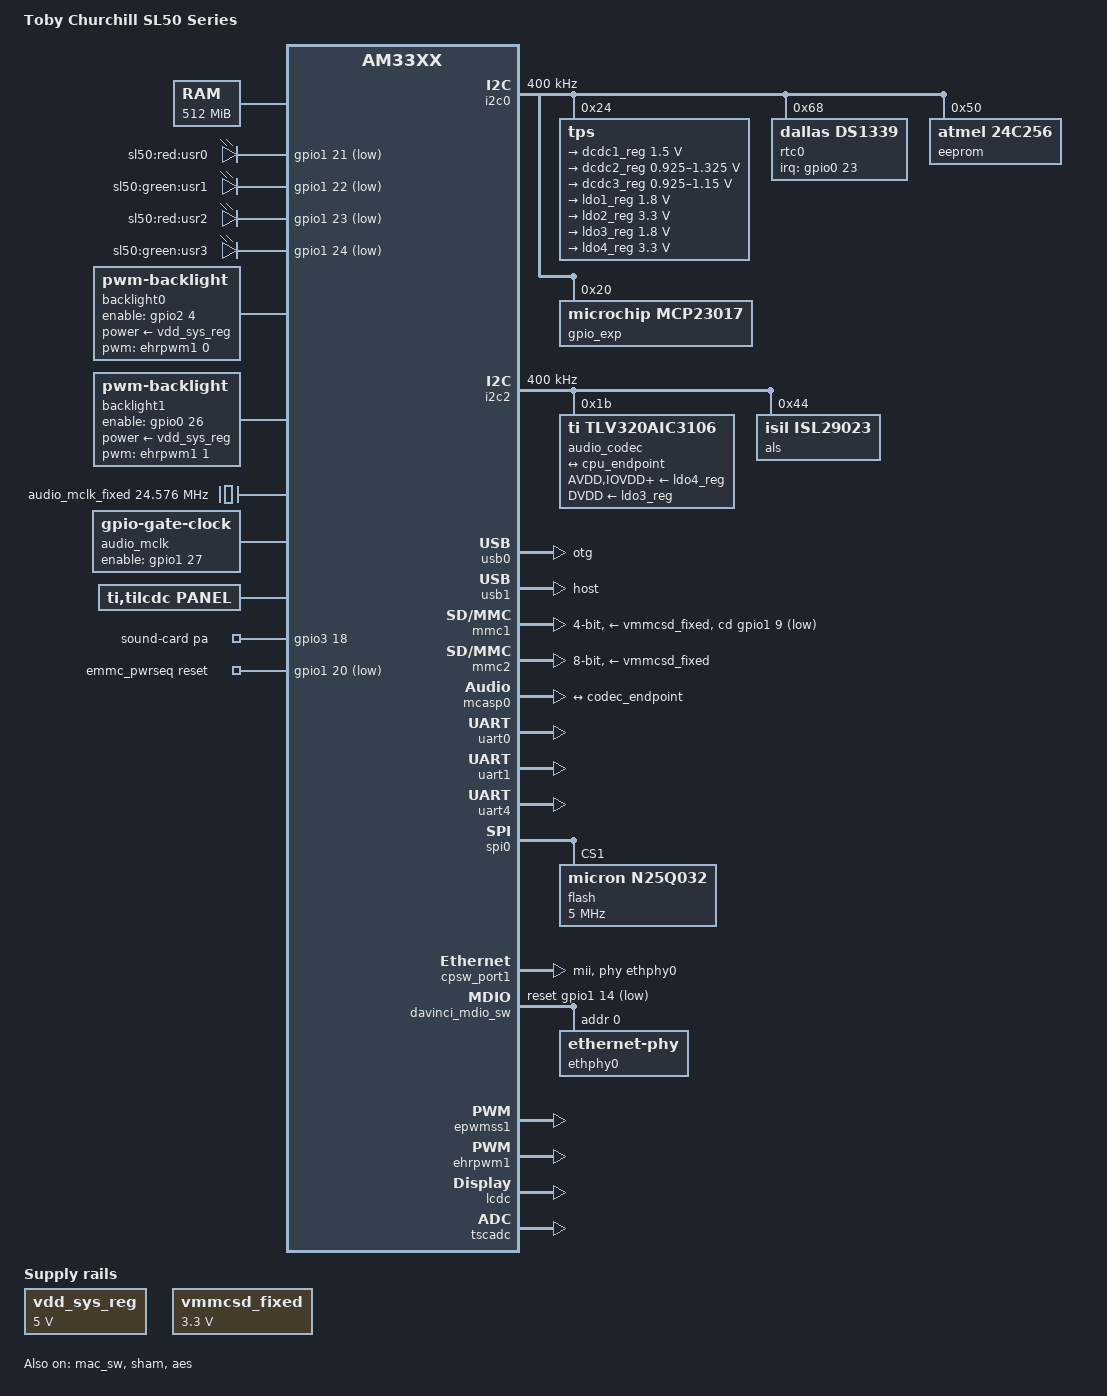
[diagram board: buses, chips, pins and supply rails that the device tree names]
// SPDX-License-Identifier: GPL-2.0-only
/*
 * Copyright (C) 2015 Toby Churchill - https://www.toby-churchill.com/
 * url above is defunct
 */
/dts-v1/;

#include "am33xx.dtsi"
#include <dt-bindings/pwm/pwm.h>
#include <dt-bindings/interrupt-controller/irq.h>

/ {
	model = "Toby Churchill SL50 Series";
	compatible = "tcl,am335x-sl50", "ti,am33xx";

	cpus {
		cpu@0 {
			cpu0-supply = <&dcdc2_reg>;
		};
	};

	memory@80000000 {
		device_type = "memory";
		reg = <0x80000000 0x20000000>; /* 512 MB */
	};

	chosen {
		stdout-path = &uart0;
	};

	leds {
		compatible = "gpio-leds";
		pinctrl-names = "default";
		pinctrl-0 = <&led_pins>;

		led0 {
			label = "sl50:red:usr0";
			gpios = <&gpio1 21 GPIO_ACTIVE_LOW>;
			default-state = "off";
		};

		led1 {
			label = "sl50:green:usr1";
			gpios = <&gpio1 22 GPIO_ACTIVE_LOW>;
			default-state = "off";
		};

		led2 {
			label = "sl50:red:usr2";
			gpios = <&gpio1 23 GPIO_ACTIVE_LOW>;
			default-state = "off";
		};

		led3 {
			label = "sl50:green:usr3";
			gpios = <&gpio1 24 GPIO_ACTIVE_LOW>;
			default-state = "off";
		};
	};

	backlight0: disp0 {
		compatible = "pwm-backlight";
		pinctrl-names = "default";
		pinctrl-0 = <&backlight0_pins>;
		pwms = <&ehrpwm1 0 500000 PWM_POLARITY_INVERTED>;
		brightness-levels = < 0  1  2  3  4  5  6  7  8  9
				     10 11 12 13 14 15 16 17 18 19
				     20 21 22 23 24 25 26 27 28 29
				     30 31 32 33 34 35 36 37 38 39
				     40 41 42 43 44 45 46 47 48 49
				     50 51 52 53 54 55 56 57 58 59
				     60 61 62 63 64 65 66 67 68 69
				     70 71 72 73 74 75 76 77 78 79
				     80 81 82 83 84 85 86 87 88 89
				     90 91 92 93 94 95 96 97 98 99
				    100>;
		default-brightness-level = <50>;
		enable-gpios = <&gpio2 4 GPIO_ACTIVE_HIGH>;
		power-supply = <&vdd_sys_reg>;
	};

	backlight1: disp1 {
		compatible = "pwm-backlight";
		pinctrl-names = "default";
		pinctrl-0 = <&backlight1_pins>;
		pwms = <&ehrpwm1 1 500000 PWM_POLARITY_INVERTED>;
		brightness-levels = < 0  1  2  3  4  5  6  7  8  9
				     10 11 12 13 14 15 16 17 18 19
				     20 21 22 23 24 25 26 27 28 29
				     30 31 32 33 34 35 36 37 38 39
				     40 41 42 43 44 45 46 47 48 49
				     50 51 52 53 54 55 56 57 58 59
				     60 61 62 63 64 65 66 67 68 69
				     70 71 72 73 74 75 76 77 78 79
				     80 81 82 83 84 85 86 87 88 89
				     90 91 92 93 94 95 96 97 98 99
				    100>;
		default-brightness-level = <50>;
		enable-gpios = <&gpio0 26 GPIO_ACTIVE_HIGH>;
		power-supply = <&vdd_sys_reg>;
	};

	clocks {
		compatible = "simple-bus";
		#address-cells = <1>;
		#size-cells = <0>;

		/* audio external oscillator */
		audio_mclk_fixed: oscillator@0 {
			compatible = "fixed-clock";
			#clock-cells = <0>;
			clock-frequency  = <24576000>;	/* 24.576MHz */
		};

		audio_mclk: audio_mclk_gate@0 {
			compatible = "gpio-gate-clock";
			#clock-cells = <0>;
			pinctrl-names = "default";
			pinctrl-0 = <&audio_mclk_pins>;
			clocks = <&audio_mclk_fixed>;
			enable-gpios = <&gpio1 27 0>;
		};
	};

	panel: lcd_panel {
		compatible = "ti,tilcdc,panel";
		pinctrl-names = "default";
		pinctrl-0 = <&lcd_pins>;

		panel-info {
			ac-bias = <255>;
			ac-bias-intrpt = <0>;
			dma-burst-sz = <16>;
			bpp = <16>;
			fdd = <0x80>;
			tft-alt-mode = <0>;
			mono-8bit-mode = <0>;
			sync-edge = <0>;
			sync-ctrl = <1>;
			raster-order = <0>;
			fifo-th = <0>;
		};

		display-timings {
			native-mode = <&timing0>;
			timing0: 960x128 {
				clock-frequency = <18000000>;
				hactive = <960>;
				vactive = <272>;

				hback-porch = <40>;
				hfront-porch = <16>;
				hsync-len = <24>;
				hsync-active = <0>;

				vback-porch = <3>;
				vfront-porch = <8>;
				vsync-len = <4>;
				vsync-active = <0>;
			};
		};
	};

	sound {
		compatible = "audio-graph-card";
		label = "sound-card";
		pinctrl-names = "default";
		pinctrl-0 = <&audio_pa_pins>;

		widgets = "Headphone", "Headphone Jack",
			  "Speaker", "Speaker External",
			  "Line", "Line In",
			  "Microphone", "Microphone Jack";

		routing = "Headphone Jack",	"HPLOUT",
			  "Headphone Jack",	"HPROUT",
			  "Amplifier",		"MONO_LOUT",
			  "Speaker External",	"Amplifier",
			  "LINE1R",		"Line In",
			  "LINE1L",		"Line In",
			  "MIC3L",		"Microphone Jack",
			  "MIC3R",		"Microphone Jack",
			  "Microphone Jack",	"Mic Bias";

		dais = <&cpu_port>;

		pa-gpios = <&gpio3 18 GPIO_ACTIVE_HIGH>;
	};

	emmc_pwrseq: pwrseq@0 {
		compatible = "mmc-pwrseq-emmc";
		pinctrl-names = "default";
		pinctrl-0 = <&emmc_pwrseq_pins>;
		reset-gpios = <&gpio1 20 GPIO_ACTIVE_LOW>;
	};

	vdd_sys_reg: regulator@0 {
		compatible = "regulator-fixed";
		regulator-name = "vdd_sys_reg";
		regulator-min-microvolt = <5000000>;
		regulator-max-microvolt = <5000000>;
		regulator-always-on;
	};

	vmmcsd_fixed: fixedregulator0 {
		compatible = "regulator-fixed";
		regulator-name = "vmmcsd_fixed";
		regulator-min-microvolt = <3300000>;
		regulator-max-microvolt = <3300000>;
	};
};

&am33xx_pinmux {
	pinctrl-names = "default";
	pinctrl-0 = <&lwb_pins>;

	audio_pins: audio-pins {
		pinctrl-single,pins = <
			AM33XX_PADCONF(AM335X_PIN_MCASP0_AHCLKX, PIN_INPUT_PULLDOWN, MUX_MODE0)
			AM33XX_PADCONF(AM335X_PIN_MCASP0_FSX, PIN_INPUT_PULLDOWN, MUX_MODE0)
			AM33XX_PADCONF(AM335X_PIN_MCASP0_ACLKX, PIN_INPUT_PULLDOWN, MUX_MODE0)
			AM33XX_PADCONF(AM335X_PIN_MCASP0_AXR0, PIN_INPUT_PULLDOWN, MUX_MODE0)
			AM33XX_PADCONF(AM335X_PIN_MCASP0_AHCLKR, PIN_OUTPUT_PULLDOWN, MUX_MODE2)
		>;
	};

	audio_pa_pins: audio-pa-pins {
		pinctrl-single,pins = <
			AM33XX_PADCONF(AM335X_PIN_MCASP0_ACLKR, PIN_INPUT_PULLDOWN, MUX_MODE7)	/* SoundPA_en - mcasp0_aclkr.gpio3_18 */
		>;
	};

	audio_mclk_pins: audio-mclk-pins {
		pinctrl-single,pins = <
			AM33XX_PADCONF(AM335X_PIN_GPMC_A11, PIN_INPUT_PULLDOWN, MUX_MODE7)	/* gpmc_a11.gpio1_27 */
		>;
	};

	backlight0_pins: backlight0-pins {
		pinctrl-single,pins = <
			AM33XX_PADCONF(AM335X_PIN_GPMC_WEN, PIN_OUTPUT, MUX_MODE7)	/* gpmc_wen.gpio2_4 */
		>;
	};

	backlight1_pins: backlight1-pins {
		pinctrl-single,pins = <
			AM33XX_PADCONF(AM335X_PIN_GPMC_AD10, PIN_OUTPUT, MUX_MODE7)     /* gpmc_ad10.gpio0_26 */
		>;
	};

	lcd_pins: lcd-pins {
		pinctrl-single,pins = <
			AM33XX_PADCONF(AM335X_PIN_LCD_DATA0, PIN_OUTPUT, MUX_MODE0)
			AM33XX_PADCONF(AM335X_PIN_LCD_DATA1, PIN_OUTPUT, MUX_MODE0)
			AM33XX_PADCONF(AM335X_PIN_LCD_DATA2, PIN_OUTPUT, MUX_MODE0)
			AM33XX_PADCONF(AM335X_PIN_LCD_DATA3, PIN_OUTPUT, MUX_MODE0)
			AM33XX_PADCONF(AM335X_PIN_LCD_DATA4, PIN_OUTPUT, MUX_MODE0)
			AM33XX_PADCONF(AM335X_PIN_LCD_DATA5, PIN_OUTPUT, MUX_MODE0)
			AM33XX_PADCONF(AM335X_PIN_LCD_DATA6, PIN_OUTPUT, MUX_MODE0)
			AM33XX_PADCONF(AM335X_PIN_LCD_DATA7, PIN_OUTPUT, MUX_MODE0)
			AM33XX_PADCONF(AM335X_PIN_LCD_DATA8, PIN_OUTPUT, MUX_MODE0)
			AM33XX_PADCONF(AM335X_PIN_LCD_DATA9, PIN_OUTPUT, MUX_MODE0)
			AM33XX_PADCONF(AM335X_PIN_LCD_DATA10, PIN_OUTPUT, MUX_MODE0)
			AM33XX_PADCONF(AM335X_PIN_LCD_DATA11, PIN_OUTPUT, MUX_MODE0)
			AM33XX_PADCONF(AM335X_PIN_LCD_DATA12, PIN_OUTPUT, MUX_MODE0)
			AM33XX_PADCONF(AM335X_PIN_LCD_DATA13, PIN_OUTPUT, MUX_MODE0)
			AM33XX_PADCONF(AM335X_PIN_LCD_DATA14, PIN_OUTPUT, MUX_MODE0)
			AM33XX_PADCONF(AM335X_PIN_LCD_DATA15, PIN_OUTPUT, MUX_MODE0)
			AM33XX_PADCONF(AM335X_PIN_LCD_VSYNC, PIN_OUTPUT_PULLDOWN, MUX_MODE0)
			AM33XX_PADCONF(AM335X_PIN_LCD_HSYNC, PIN_OUTPUT_PULLDOWN, MUX_MODE0)
			AM33XX_PADCONF(AM335X_PIN_LCD_PCLK, PIN_OUTPUT_PULLDOWN, MUX_MODE0)
			AM33XX_PADCONF(AM335X_PIN_LCD_AC_BIAS_EN, PIN_OUTPUT_PULLDOWN, MUX_MODE0)
		>;
	};

	led_pins: led-pins {
		pinctrl-single,pins = <
			AM33XX_PADCONF(AM335X_PIN_GPMC_A5, PIN_OUTPUT, MUX_MODE7)	/* gpmc_a5.gpio1_21 */
			AM33XX_PADCONF(AM335X_PIN_GPMC_A6, PIN_OUTPUT, MUX_MODE7)	/* gpmc_a6.gpio1_22 */
			AM33XX_PADCONF(AM335X_PIN_GPMC_A7, PIN_OUTPUT, MUX_MODE7)	/* gpmc_a7.gpio1_23 */
			AM33XX_PADCONF(AM335X_PIN_GPMC_A8, PIN_OUTPUT, MUX_MODE7)	/* gpmc_a8.gpio1_24 */
		>;
	};

	uart0_pins: uart0-pins {
		pinctrl-single,pins = <
			AM33XX_PADCONF(AM335X_PIN_UART0_RXD, PIN_INPUT_PULLUP, MUX_MODE0)
			AM33XX_PADCONF(AM335X_PIN_UART0_TXD, PIN_OUTPUT_PULLDOWN, MUX_MODE0)
		>;
	};

	uart1_pins: uart1-pins {
		pinctrl-single,pins = <
			AM33XX_PADCONF(AM335X_PIN_UART1_RXD, PIN_INPUT_PULLUP, MUX_MODE0)
			AM33XX_PADCONF(AM335X_PIN_UART1_TXD, PIN_OUTPUT_PULLDOWN, MUX_MODE0)
		>;
	};

	uart4_pins: uart4-pins {
		pinctrl-single,pins = <
			AM33XX_PADCONF(AM335X_PIN_GPMC_WAIT0, PIN_INPUT_PULLUP, MUX_MODE6)	/* gpmc_wait0.uart4_rxd */
			AM33XX_PADCONF(AM335X_PIN_GPMC_WPN, PIN_OUTPUT_PULLDOWN, MUX_MODE6)	/* gpmc_wpn.uart4_txd */
		>;
	};

	i2c0_pins: i2c0-pins {
		pinctrl-single,pins = <
			AM33XX_PADCONF(AM335X_PIN_I2C0_SDA, PIN_INPUT_PULLUP, MUX_MODE0)
			AM33XX_PADCONF(AM335X_PIN_I2C0_SCL, PIN_INPUT_PULLUP, MUX_MODE0)
		>;
	};

	i2c2_pins: i2c2-pins {
		pinctrl-single,pins = <
			AM33XX_PADCONF(AM335X_PIN_UART1_CTSN, PIN_INPUT_PULLUP, MUX_MODE3)	/* uart1_ctsn.i2c2_sda */
			AM33XX_PADCONF(AM335X_PIN_UART1_RTSN, PIN_INPUT_PULLUP, MUX_MODE3)	/* uart1_rtsn.i2c2_scl */
		>;
	};

	cpsw_default: cpsw-default-pins {
		pinctrl-single,pins = <
			/* Slave 1 */
			AM33XX_PADCONF(AM335X_PIN_MII1_RX_ER, PIN_INPUT_PULLUP, MUX_MODE0)
			AM33XX_PADCONF(AM335X_PIN_MII1_TX_EN, PIN_OUTPUT_PULLDOWN, MUX_MODE0)
			AM33XX_PADCONF(AM335X_PIN_MII1_RX_DV, PIN_INPUT_PULLUP, MUX_MODE0)
			AM33XX_PADCONF(AM335X_PIN_MII1_TXD3, PIN_OUTPUT_PULLDOWN, MUX_MODE0)
			AM33XX_PADCONF(AM335X_PIN_MII1_TXD2, PIN_OUTPUT_PULLDOWN, MUX_MODE0)
			AM33XX_PADCONF(AM335X_PIN_MII1_TXD1, PIN_OUTPUT_PULLDOWN, MUX_MODE0)
			AM33XX_PADCONF(AM335X_PIN_MII1_TXD0, PIN_OUTPUT_PULLDOWN, MUX_MODE0)
			AM33XX_PADCONF(AM335X_PIN_MII1_TX_CLK, PIN_INPUT_PULLUP, MUX_MODE0)
			AM33XX_PADCONF(AM335X_PIN_MII1_RX_CLK, PIN_INPUT_PULLUP, MUX_MODE0)
			AM33XX_PADCONF(AM335X_PIN_MII1_RXD3, PIN_INPUT_PULLUP, MUX_MODE0)
			AM33XX_PADCONF(AM335X_PIN_MII1_RXD2, PIN_INPUT_PULLUP, MUX_MODE0)
			AM33XX_PADCONF(AM335X_PIN_MII1_RXD1, PIN_INPUT_PULLUP, MUX_MODE0)
			AM33XX_PADCONF(AM335X_PIN_MII1_RXD0, PIN_INPUT_PULLUP, MUX_MODE0)
		>;
	};

	cpsw_sleep: cpsw-sleep-pins {
		pinctrl-single,pins = <
			/* Slave 1 reset value */
			AM33XX_PADCONF(AM335X_PIN_MII1_RX_ER, PIN_INPUT_PULLDOWN, MUX_MODE7)
			AM33XX_PADCONF(AM335X_PIN_MII1_TX_EN, PIN_INPUT_PULLDOWN, MUX_MODE7)
			AM33XX_PADCONF(AM335X_PIN_MII1_RX_DV, PIN_INPUT_PULLDOWN, MUX_MODE7)
			AM33XX_PADCONF(AM335X_PIN_MII1_TXD3, PIN_INPUT_PULLDOWN, MUX_MODE7)
			AM33XX_PADCONF(AM335X_PIN_MII1_TXD2, PIN_INPUT_PULLDOWN, MUX_MODE7)
			AM33XX_PADCONF(AM335X_PIN_MII1_TXD1, PIN_INPUT_PULLDOWN, MUX_MODE7)
			AM33XX_PADCONF(AM335X_PIN_MII1_TXD0, PIN_INPUT_PULLDOWN, MUX_MODE7)
			AM33XX_PADCONF(AM335X_PIN_MII1_TX_CLK, PIN_INPUT_PULLDOWN, MUX_MODE7)
			AM33XX_PADCONF(AM335X_PIN_MII1_RX_CLK, PIN_INPUT_PULLDOWN, MUX_MODE7)
			AM33XX_PADCONF(AM335X_PIN_MII1_RXD3, PIN_INPUT_PULLDOWN, MUX_MODE7)
			AM33XX_PADCONF(AM335X_PIN_MII1_RXD2, PIN_INPUT_PULLDOWN, MUX_MODE7)
			AM33XX_PADCONF(AM335X_PIN_MII1_RXD1, PIN_INPUT_PULLDOWN, MUX_MODE7)
			AM33XX_PADCONF(AM335X_PIN_MII1_RXD0, PIN_INPUT_PULLDOWN, MUX_MODE7)
		>;
	};

	davinci_mdio_default: davinci-mdio-default-pins {
		pinctrl-single,pins = <
			/* MDIO */
			AM33XX_PADCONF(AM335X_PIN_MDIO, PIN_INPUT_PULLUP | SLEWCTRL_FAST, MUX_MODE0)
			AM33XX_PADCONF(AM335X_PIN_MDC, PIN_OUTPUT_PULLUP, MUX_MODE0)
			/* Ethernet */
			AM33XX_PADCONF(AM335X_PIN_GPMC_AD14, PIN_INPUT_PULLUP, MUX_MODE7)	/* Ethernet_nRST - gpmc_ad14.gpio1_14 */
		>;
	};

	davinci_mdio_sleep: davinci-mdio-sleep-pins {
		pinctrl-single,pins = <
			/* MDIO reset value */
			AM33XX_PADCONF(AM335X_PIN_MDIO, PIN_INPUT_PULLDOWN, MUX_MODE7)
			AM33XX_PADCONF(AM335X_PIN_MDC, PIN_INPUT_PULLDOWN, MUX_MODE7)
		>;
	};

	mmc1_pins: mmc1-pins {
		pinctrl-single,pins = <
			AM33XX_PADCONF(AM335X_PIN_UART0_RTSN, PIN_INPUT, MUX_MODE7)		/* uart0_rtsn.gpio1_9 */
		>;
	};

	emmc_pwrseq_pins: emmc-pwrseq-pins {
		pinctrl-single,pins = <
			AM33XX_PADCONF(AM335X_PIN_GPMC_A4, PIN_OUTPUT_PULLUP, MUX_MODE7)	/* gpmc_a4.gpio1_20 */
		>;
	};

	emmc_pins: emmc-pins {
		pinctrl-single,pins = <
			AM33XX_PADCONF(AM335X_PIN_GPMC_CSN1, PIN_INPUT_PULLUP, MUX_MODE2)	/* gpmc_csn1.mmc1_clk */
			AM33XX_PADCONF(AM335X_PIN_GPMC_CSN2, PIN_INPUT_PULLUP, MUX_MODE2)	/* gpmc_csn2.mmc1_cmd */
			AM33XX_PADCONF(AM335X_PIN_GPMC_AD0, PIN_INPUT_PULLUP, MUX_MODE1)	/* gpmc_ad0.mmc1_dat0 */
			AM33XX_PADCONF(AM335X_PIN_GPMC_AD1, PIN_INPUT_PULLUP, MUX_MODE1)	/* gpmc_ad1.mmc1_dat1 */
			AM33XX_PADCONF(AM335X_PIN_GPMC_AD2, PIN_INPUT_PULLUP, MUX_MODE1)	/* gpmc_ad2.mmc1_dat2 */
			AM33XX_PADCONF(AM335X_PIN_GPMC_AD3, PIN_INPUT_PULLUP, MUX_MODE1)	/* gpmc_ad3.mmc1_dat3 */
			AM33XX_PADCONF(AM335X_PIN_GPMC_AD4, PIN_INPUT_PULLUP, MUX_MODE1)	/* gpmc_ad4.mmc1_dat4 */
			AM33XX_PADCONF(AM335X_PIN_GPMC_AD5, PIN_INPUT_PULLUP, MUX_MODE1) 	/* gpmc_ad5.mmc1_dat5 */
			AM33XX_PADCONF(AM335X_PIN_GPMC_AD6, PIN_INPUT_PULLUP, MUX_MODE1)	/* gpmc_ad6.mmc1_dat6 */
			AM33XX_PADCONF(AM335X_PIN_GPMC_AD7, PIN_INPUT_PULLUP, MUX_MODE1)	/* gpmc_ad7.mmc1_dat7 */
		>;
	};

	ehrpwm1_pins: ehrpwm1a-pins {
		pinctrl-single,pins = <
			AM33XX_PADCONF(AM335X_PIN_GPMC_A2, PIN_OUTPUT, MUX_MODE6)	/* gpmc_a2.ehrpwm1a */
			AM33XX_PADCONF(AM335X_PIN_GPMC_A3, PIN_OUTPUT, MUX_MODE6)	/* gpmc_a3.ehrpwm1b */
		>;
	};

	rtc0_irq_pins: rtc0-irq-pins {
		pinctrl-single,pins = <
			AM33XX_PADCONF(AM335X_PIN_GPMC_AD9, PIN_INPUT_PULLUP, MUX_MODE7)     /* gpmc_ad9.gpio0_23 */
		>;
	};

	spi0_pins: spi0-pins {
		pinctrl-single,pins = <
			AM33XX_PADCONF(AM335X_PIN_SPI0_D0, PIN_INPUT_PULLUP, MUX_MODE0)	/* SPI0_MOSI */
			AM33XX_PADCONF(AM335X_PIN_SPI0_D1, PIN_INPUT_PULLUP, MUX_MODE0)	/* SPI0_MISO */
			AM33XX_PADCONF(AM335X_PIN_SPI0_SCLK, PIN_INPUT_PULLUP, MUX_MODE0)
			AM33XX_PADCONF(AM335X_PIN_SPI0_CS0, PIN_INPUT_PULLUP, MUX_MODE0)	/* SPI0_CS0 (NBATTSS) */
			AM33XX_PADCONF(AM335X_PIN_SPI0_CS1, PIN_INPUT_PULLUP, MUX_MODE0)	/* SPI0_CS1 (FPGA_FLASH_NCS) */
		>;
	};

	lwb_pins: lwb-pins {
		pinctrl-single,pins = <
			AM33XX_PADCONF(AM335X_PIN_GPMC_AD12, PIN_INPUT_PULLUP, MUX_MODE7)	/* nKbdInt - gpmc_ad12.gpio1_12 */
			AM33XX_PADCONF(AM335X_PIN_GPMC_AD13, PIN_INPUT_PULLUP, MUX_MODE7)	/* nKbdReset - gpmc_ad13.gpio1_13 */
			AM33XX_PADCONF(AM335X_PIN_GPMC_A1, PIN_INPUT_PULLUP, MUX_MODE7)	/* USB1_enPower - gpmc_a1.gpio1_17 */
			/* PDI Bus - Battery system */
			AM33XX_PADCONF(AM335X_PIN_GPMC_A0, PIN_INPUT_PULLUP, MUX_MODE7)	/* nBattReset  gpmc_a0.gpio1_16 */
			AM33XX_PADCONF(AM335X_PIN_GPMC_AD15, PIN_INPUT_PULLUP, MUX_MODE7)	/* BattPDIData gpmc_ad15.gpio1_15 */
			/* FPGA */
			AM33XX_PADCONF(AM335X_PIN_GPMC_AD8, PIN_INPUT_PULLUP, MUX_MODE7)	/* FPGA_DONE - gpmc_ad8.gpio0_22 */
			AM33XX_PADCONF(AM335X_PIN_GPMC_A0, PIN_INPUT_PULLUP, MUX_MODE7)	/* FPGA_NRST - gpmc_a0.gpio1_16 */
			AM33XX_PADCONF(AM335X_PIN_GPMC_A1, PIN_INPUT_PULLDOWN, MUX_MODE7)	/* FPGA_RUN - gpmc_a1.gpio1_17 */
			AM33XX_PADCONF(AM335X_PIN_GPMC_A9, PIN_INPUT_PULLUP, MUX_MODE7)	/* ENFPGA - gpmc_a9.gpio1_25 */
			AM33XX_PADCONF(AM335X_PIN_GPMC_A10, PIN_INPUT_PULLDOWN, MUX_MODE7)	/* FPGA_PROGRAM - gpmc_a10.gpio1_26 */
		>;
	};
};

&i2c0 {
	status = "okay";
	pinctrl-names = "default";
	pinctrl-0 = <&i2c0_pins>;

	clock-frequency = <400000>;

	tps: tps@24 {
		reg = <0x24>;
	};

	rtc0: rtc@68 {
		compatible = "dallas,ds1339";
		pinctrl-names = "default";
		pinctrl-0 = <&rtc0_irq_pins>;
		interrupt-parent = <&gpio0>;
		interrupts = <23 IRQ_TYPE_EDGE_FALLING>; /* gpio 23 */
		wakeup-source;
		trickle-resistor-ohms = <2000>;
		reg = <0x68>;
	};

	eeprom: eeprom@50 {
		compatible = "atmel,24c256";
		reg = <0x50>;
	};

	gpio_exp: mcp23017@20 {
		compatible = "microchip,mcp23017";
		reg = <0x20>;
	};

};

&i2c2 {
	status = "okay";
	pinctrl-names = "default";
	pinctrl-0 = <&i2c2_pins>;

	clock-frequency = <400000>;

	audio_codec: tlv320aic3106@1b {
		status = "okay";
		compatible = "ti,tlv320aic3106";
		#sound-dai-cells = <0>;
		reg = <0x1b>;
		ai3x-micbias-vg = <2>;  /* 2.5V */

		AVDD-supply = <&ldo4_reg>;
		IOVDD-supply = <&ldo4_reg>;
		DRVDD-supply = <&ldo4_reg>;
		DVDD-supply = <&ldo3_reg>;

		codec_port: port {
			codec_endpoint: endpoint {
				remote-endpoint = <&cpu_endpoint>;
				clocks = <&audio_mclk>;
			};
		};
	};

	/* Ambient Light Sensor */
	als: isl29023@44 {
		compatible = "isil,isl29023";
		reg = <0x44>;
	};
};

&rtc {
	status = "disabled";
};

&usb0 {
	dr_mode = "otg";
};

&usb1 {
	dr_mode = "host";
};

&mmc1 {
	status = "okay";
	pinctrl-names = "default";
	pinctrl-0 = <&mmc1_pins>;
	bus-width = <4>;
	cd-gpios = <&gpio1 9 GPIO_ACTIVE_LOW>;
	vmmc-supply = <&vmmcsd_fixed>;
};

&mmc2 {
	status = "okay";
	pinctrl-names = "default";
	pinctrl-0 = <&emmc_pins>;
	bus-width = <8>;
	vmmc-supply = <&vmmcsd_fixed>;
	mmc-pwrseq = <&emmc_pwrseq>;
};

&mcasp0 {
	status = "okay";
	pinctrl-names = "default";
	pinctrl-0 = <&audio_pins>;
	#sound-dai-cells = <0>;
	op-mode = <0>;  /* MCASP_ISS_MODE */
	tdm-slots = <2>;
	/* 4 serializers */
	serial-dir = <  /* 0: INACTIVE, 1: TX, 2: RX */
		0 0 1 2
	>;
	tx-num-evt = <32>;
	rx-num-evt = <32>;

	cpu_port: port {
		cpu_endpoint: endpoint {
			remote-endpoint = <&codec_endpoint>;

			dai-format = "dsp_b";
			bitclock-master = <&codec_port>;
			frame-master = <&codec_port>;
			bitclock-inversion;
			clocks = <&audio_mclk>;
		};
	};
};

&uart0 {
	status = "okay";
	pinctrl-names = "default";
	pinctrl-0 = <&uart0_pins>;
};

&uart1 {
	status = "okay";
	pinctrl-names = "default";
	pinctrl-0 = <&uart1_pins>;
};

&uart4 {
	status = "okay";
	pinctrl-names = "default";
	pinctrl-0 = <&uart4_pins>;
};

&spi0 {
	status = "okay";
	pinctrl-names = "default";
	pinctrl-0 = <&spi0_pins>;

	flash: flash@1 {
		#address-cells = <1>;
		#size-cells = <1>;
		compatible = "micron,n25q032";
		reg = <1>;
		spi-max-frequency = <5000000>;
	};
};

#include "../../tps65217.dtsi"

&tps {
	ti,pmic-shutdown-controller;

	interrupt-parent = <&intc>;
	interrupts = <7>;	/* NNMI */

	regulators {
		dcdc1_reg: regulator@0 {
			/* VDDS_DDR */
			regulator-min-microvolt = <1500000>;
			regulator-max-microvolt = <1500000>;
			regulator-always-on;
		};

		dcdc2_reg: regulator@1 {
			/* VDD_MPU voltage limits 0.95V - 1.26V with +/-4% tolerance */
			regulator-name = "vdd_mpu";
			regulator-min-microvolt = <925000>;
			regulator-max-microvolt = <1325000>;
			regulator-boot-on;
			regulator-always-on;
		};

		dcdc3_reg: regulator@2 {
			/* VDD_CORE voltage limits 0.95V - 1.1V with +/-4% tolerance */
			regulator-name = "vdd_core";
			regulator-min-microvolt = <925000>;
			regulator-max-microvolt = <1150000>;
			regulator-boot-on;
			regulator-always-on;
		};

		ldo1_reg: regulator@3 {
			/* VRTC / VIO / VDDS*/
			regulator-always-on;
			regulator-min-microvolt = <1800000>;
			regulator-max-microvolt = <1800000>;
		};

		ldo2_reg: regulator@4 {
			/* VDD_3V3AUX */
			regulator-always-on;
			regulator-min-microvolt = <3300000>;
			regulator-max-microvolt = <3300000>;
		};

		ldo3_reg: regulator@5 {
			/* VDD_1V8 */
			regulator-min-microvolt = <1800000>;
			regulator-max-microvolt = <1800000>;
			regulator-always-on;
		};

		ldo4_reg: regulator@6 {
			/* VDD_3V3A */
			regulator-min-microvolt = <3300000>;
			regulator-max-microvolt = <3300000>;
			regulator-always-on;
		};
	};
};

&cpsw_port1 {
	phy-mode = "mii";
	phy-handle = <&ethphy0>;
	ti,dual-emac-pvid = <1>;
};

&cpsw_port2 {
	status = "disabled";
};

&mac_sw {
	status = "okay";
	pinctrl-names = "default", "sleep";
	pinctrl-0 = <&cpsw_default>;
	pinctrl-1 = <&cpsw_sleep>;
};

&davinci_mdio_sw {
	pinctrl-names = "default", "sleep";
	pinctrl-0 = <&davinci_mdio_default>;
	pinctrl-1 = <&davinci_mdio_sleep>;
	reset-gpios = <&gpio1 14 GPIO_ACTIVE_LOW>;
	reset-delay-us = <100>;   /* PHY datasheet states 100us min */

	ethphy0: ethernet-phy@0 {
		reg = <0>;
	};
};

&sham {
	status = "okay";
};

&aes {
	status = "okay";
};

&epwmss1 {
	status = "okay";
};

&ehrpwm1 {
	status = "okay";
	pinctrl-names = "default";
	pinctrl-0 = <&ehrpwm1_pins>;
};

&lcdc {
	status = "okay";
};

&tscadc {
	status = "okay";
};

&am335x_adc {
	ti,adc-channels = <0 1 2 3 4 5 6 7>;
};
